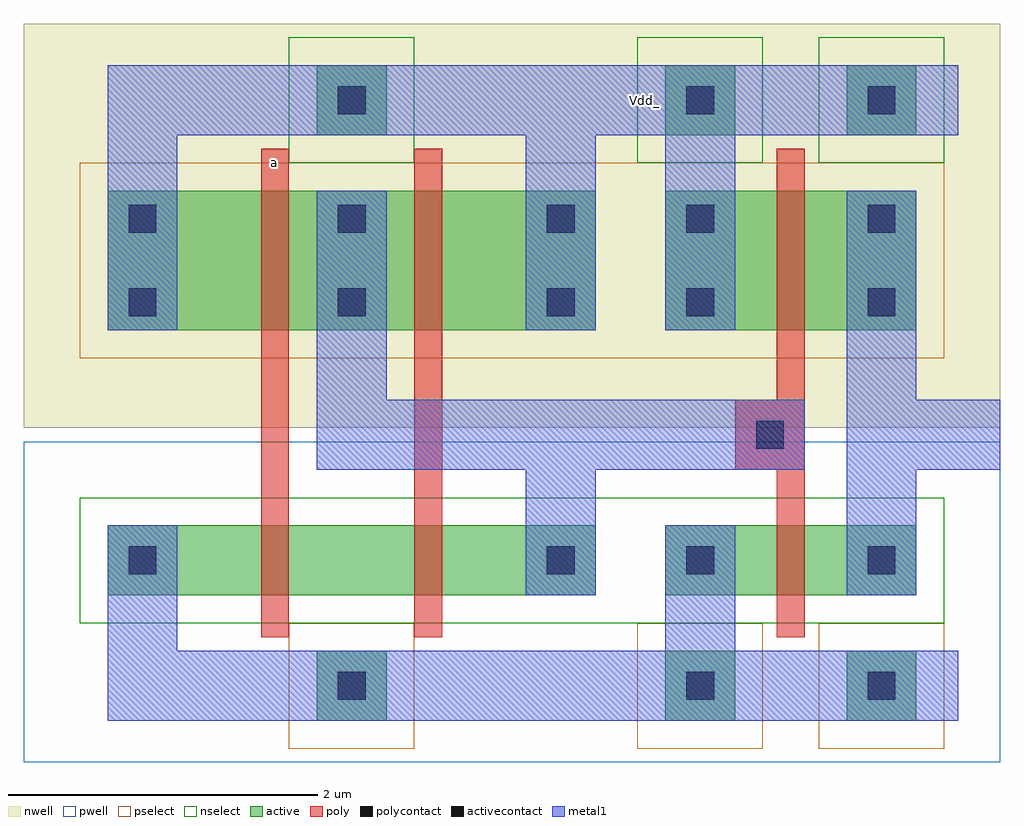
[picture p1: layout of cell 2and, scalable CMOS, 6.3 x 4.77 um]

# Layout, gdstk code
import gdstk
lib = gdstk.Library(unit=1e-6, precision=1e-09)
def R(c, l, rs):  # rectangles x0, y0, x1, y1
    for r in rs: c.add(gdstk.rectangle(r[:2], r[2:], *l))
def A(c, l, x, y, w, h, nx, ny, dx, dy):  # array of equal rectangles
    R(c, l, [(x+i*dx, y+j*dy, x+i*dx+w, y+j*dy+h) for i in range(nx) for j in range(ny)])
pwell = (41, 0)
nwell = (42, 0)
active = (43, 0)
pselect = (44, 0)
nselect = (45, 0)
poly = (46, 0)
polycontact = (47, 0)
activecontact = (48, 0)
metal1 = (49, 0)

inv2 = lib.new_cell('inv2')
R(inv2, pwell, [(-0.9,-1.17,1.8,0.9)])
R(inv2, nwell, [(-0.9,0.99,1.8,3.6)])
R(inv2, active, [(-0.36,-0.9,0.09,-0.45), (0.81,-0.9,1.26,-0.45), (-0.36,-0.09,1.26,0.36), (-0.36,1.62,1.26,2.52), (-0.36,2.88,0.09,3.33), (0.81,2.88,1.26,3.33)])
R(inv2, pselect, [(-0.54,-1.08,0.27,-0.27), (0.63,-1.08,1.44,-0.27), (-0.54,1.44,1.44,2.7)])
R(inv2, nselect, [(-0.54,-0.27,1.44,0.54), (-0.54,2.7,0.27,3.51), (0.63,2.7,1.44,3.51)])
R(inv2, poly, [(0.36,-0.36,0.54,0.72), (0.09,0.72,0.54,1.17), (0.36,1.17,0.54,2.79)])
R(inv2, polycontact, [(0.225,0.855,0.405,1.035)])
R(inv2, activecontact, [(-0.225,-0.765,-0.045,-0.585), (0.945,-0.765,1.125,-0.585), (-0.225,0.045,-0.045,0.225), (0.945,0.045,1.125,0.225), (-0.225,1.71,-0.045,1.89), (0.945,1.71,1.125,1.89), (-0.225,2.25,-0.045,2.43), (0.945,2.25,1.125,2.43), (-0.225,3.015,-0.045,3.195), (0.945,3.015,1.125,3.195)])
R(inv2, metal1, [(-0.63,-0.9,1.53,-0.45), (-0.36,-0.45,0.09,0.36), (0.81,-0.09,1.26,0.72), (-0.9,0.72,0.54,1.17), (0.81,0.72,1.8,1.17), (0.81,1.17,1.26,2.52), (-0.36,1.62,0.09,2.88), (-0.63,2.88,1.53,3.33)])
inv2.add(gdstk.Label('GND_', (-0.45,-0.63), layer=49, texttype=0))
inv2.add(gdstk.Label('Vdd_', (-0.45,3.06), layer=49, texttype=0))

c_2and = lib.new_cell('2and')
R(c_2and, pwell, [(6.12,2.61,10.35,4.68)])
R(c_2and, nwell, [(6.12,4.77,10.35,7.38)])
R(c_2and, active, [(8.01,2.88,8.46,3.33), (6.66,3.69,9.81,4.14), (6.66,5.4,9.81,6.3), (8.01,6.66,8.46,7.11)])
R(c_2and, pselect, [(7.83,2.7,8.64,3.51), (6.48,5.22,10.08,6.48)])
R(c_2and, nselect, [(6.48,3.51,10.08,4.32), (7.83,6.48,8.64,7.29)])
R(c_2and, poly, [(7.65,3.42,7.83,6.57), (8.64,3.42,8.82,6.57)])
A(c_2and, activecontact, 6.795, 5.49, 0.18, 0.18, 3, 2, 1.35, 0.54)
R(c_2and, activecontact, [(8.145,3.015,8.325,3.195), (6.795,3.825,6.975,4.005), (9.495,3.825,9.675,4.005), (8.145,6.795,8.325,6.975)])
R(c_2and, metal1, [(6.66,2.88,10.35,3.33), (6.66,3.33,7.11,4.14), (9.36,3.69,9.81,4.5), (8.01,4.5,10.35,4.95), (8.01,4.95,8.46,6.3), (6.66,5.4,7.11,6.66), (9.36,5.4,9.81,6.66), (6.66,6.66,10.35,7.11)])
c_2and.add(gdstk.Reference(inv2, (10.62,3.78)))
c_2and.add(gdstk.Label('Vdd_', (10.125,6.885), layer=49, texttype=0))
c_2and.add(gdstk.Label('a', (7.74,6.48), layer=46, texttype=0))

lib.write_gds('2and.gds')
